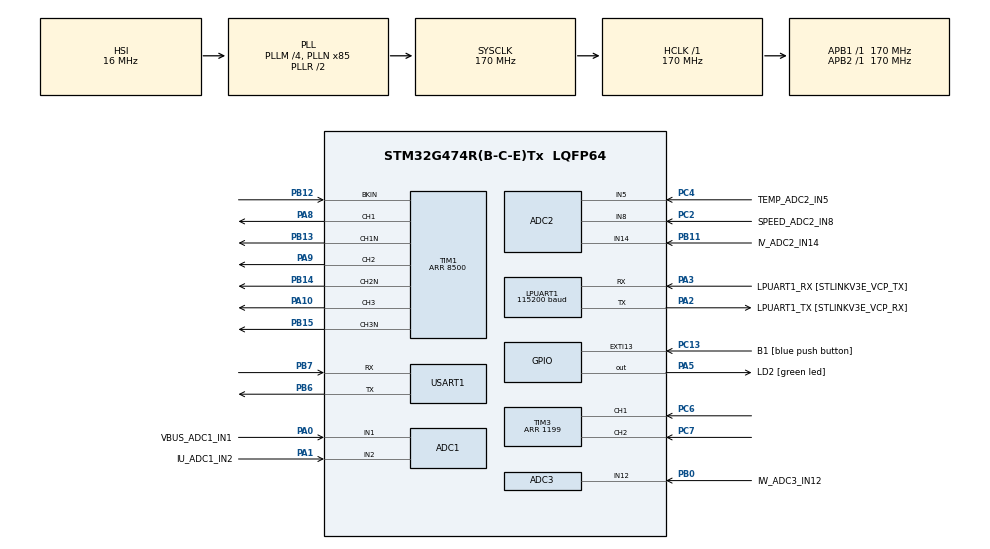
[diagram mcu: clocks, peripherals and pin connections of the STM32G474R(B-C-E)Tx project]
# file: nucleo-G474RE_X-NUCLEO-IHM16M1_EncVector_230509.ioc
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ADC1.Channel-5\#ChannelRegularConversion=ADC_CHANNEL_1
ADC1.ContinuousConvMode=DISABLE
ADC1.DMAContinuousRequests=ENABLE
ADC1.EnableInjectedConversion=ENABLE
ADC1.EnableRegularConversion=ENABLE
ADC1.ExternalTrigConv=ADC_EXTERNALTRIG_T1_TRGO2
ADC1.ExternalTrigInjecConv=ADC_EXTERNALTRIGINJEC_T1_TRGO2
ADC1.InjNumberOfConversion=1
ADC1.InjectedChannel-3\#ChannelInjectedConversion=ADC_CHANNEL_2
ADC1.InjectedOffsetNumber-3\#ChannelInjectedConversion=ADC_OFFSET_NONE
ADC1.InjectedRank-3\#ChannelInjectedConversion=1
ADC1.InjectedSamplingTime-3\#ChannelInjectedConversion=ADC_SAMPLETIME_2CYCLES_5
ADC1.NbrOfConversion=1
ADC1.NbrOfConversionFlag=1
ADC1.OffsetNumber-5\#ChannelRegularConversion=ADC_OFFSET_NONE
ADC1.Rank-5\#ChannelRegularConversion=1
ADC1.Rank1_Channel=ADC_CHANNEL_2
ADC1.Rank2_Channel=ADC_CHANNEL_1
ADC1.SamplingTime-5\#ChannelRegularConversion=ADC_SAMPLETIME_2CYCLES_5
ADC1.master=1
ADC2.Channel-4\#ChannelRegularConversion=ADC_CHANNEL_5
ADC2.Channel-5\#ChannelRegularConversion=ADC_CHANNEL_8
ADC2.ContinuousConvMode=DISABLE
ADC2.DMAContinuousRequests=ENABLE
ADC2.EOCSelection=ADC_EOC_SEQ_CONV
ADC2.EnableInjectedConversion=ENABLE
ADC2.EnableRegularConversion=ENABLE
ADC2.ExternalTrigConv=ADC_EXTERNALTRIG_T1_TRGO2
ADC2.ExternalTrigInjecConv=ADC_EXTERNALTRIGINJEC_T1_TRGO2
ADC2.InjNumberOfConversion=1
ADC2.InjectedChannel-3\#ChannelInjectedConversion=ADC_CHANNEL_14
ADC2.InjectedOffsetNumber-3\#ChannelInjectedConversion=ADC_OFFSET_NONE
ADC2.InjectedRank-3\#ChannelInjectedConversion=1
ADC2.InjectedSamplingTime-3\#ChannelInjectedConversion=ADC_SAMPLETIME_2CYCLES_5
ADC2.NbrOfConversion=2
ADC2.NbrOfConversionFlag=1
ADC2.OffsetNumber-4\#ChannelRegularConversion=ADC_OFFSET_NONE
ADC2.OffsetNumber-5\#ChannelRegularConversion=ADC_OFFSET_NONE
ADC2.Rank-4\#ChannelRegularConversion=1
ADC2.Rank-5\#ChannelRegularConversion=2
ADC2.SamplingTime-4\#ChannelRegularConversion=ADC_SAMPLETIME_2CYCLES_5
ADC2.SamplingTime-5\#ChannelRegularConversion=ADC_SAMPLETIME_2CYCLES_5
ADC3.EnableInjectedConversion=ENABLE
ADC3.EnableRegularConversion=DISABLE
ADC3.ExternalTrigInjecConv=ADC_EXTERNALTRIGINJEC_T1_TRGO2
ADC3.InjNumberOfConversion=1
ADC3.InjectedChannel-1\#ChannelInjectedConversion=ADC_CHANNEL_12
ADC3.InjectedOffsetNumber-1\#ChannelInjectedConversion=ADC_OFFSET_NONE
ADC3.InjectedRank-1\#ChannelInjectedConversion=1
ADC3.InjectedSamplingTime-1\#ChannelInjectedConversion=ADC_SAMPLETIME_2CYCLES_5
ADC3.Rank1_Channel=ADC_CHANNEL_12
ADC3.master=1
COMP1.Hysteresis=COMP_HYSTERESIS_MEDIUM
COMP1.TriggerMode=COMP_TRIGGERMODE_IT_RISING
COMP4.Hysteresis=COMP_HYSTERESIS_MEDIUM
COMP4.TriggerMode=COMP_TRIGGERMODE_IT_RISING
COMP6.Hysteresis=COMP_HYSTERESIS_MEDIUM
COMP6.TriggerMode=COMP_TRIGGERMODE_IT_RISING
DAC3.DAC_Channel-DAC_OUT2_Int=DAC_CHANNEL_2
Dma.ADC1.1.Direction=DMA_PERIPH_TO_MEMORY
Dma.ADC1.1.EventEnable=DISABLE
Dma.ADC1.1.Instance=DMA1_Channel1
Dma.ADC1.1.MemDataAlignment=DMA_MDATAALIGN_HALFWORD
Dma.ADC1.1.MemInc=DMA_MINC_ENABLE
Dma.ADC1.1.Mode=DMA_CIRCULAR
Dma.ADC1.1.PeriphDataAlignment=DMA_PDATAALIGN_HALFWORD
Dma.ADC1.1.PeriphInc=DMA_PINC_DISABLE
Dma.ADC1.1.Polarity=HAL_DMAMUX_REQ_GEN_RISING
Dma.ADC1.1.Priority=DMA_PRIORITY_LOW
Dma.ADC1.1.RequestNumber=1
Dma.ADC1.1.SignalID=NONE
Dma.ADC1.1.SyncEnable=DISABLE
Dma.ADC1.1.SyncPolarity=HAL_DMAMUX_SYNC_NO_EVENT
Dma.ADC1.1.SyncRequestNumber=1
Dma.ADC1.1.SyncSignalID=NONE
Dma.ADC2.0.Direction=DMA_PERIPH_TO_MEMORY
Dma.ADC2.0.EventEnable=DISABLE
Dma.ADC2.0.Instance=DMA1_Channel2
Dma.ADC2.0.MemDataAlignment=DMA_MDATAALIGN_HALFWORD
Dma.ADC2.0.MemInc=DMA_MINC_ENABLE
Dma.ADC2.0.Mode=DMA_CIRCULAR
Dma.ADC2.0.PeriphDataAlignment=DMA_PDATAALIGN_HALFWORD
Dma.ADC2.0.PeriphInc=DMA_PINC_DISABLE
Dma.ADC2.0.Polarity=HAL_DMAMUX_REQ_GEN_RISING
Dma.ADC2.0.Priority=DMA_PRIORITY_LOW
Dma.ADC2.0.RequestNumber=1
Dma.ADC2.0.SignalID=NONE
Dma.ADC2.0.SyncEnable=DISABLE
Dma.ADC2.0.SyncPolarity=HAL_DMAMUX_SYNC_NO_EVENT
Dma.ADC2.0.SyncRequestNumber=1
Dma.ADC2.0.SyncSignalID=NONE
Dma.Request0=ADC2
Dma.Request1=ADC1
Dma.Request2=USART1_RX
Dma.USART1_RX.2.Direction=DMA_PERIPH_TO_MEMORY
Dma.USART1_RX.2.EventEnable=DISABLE
Dma.USART1_RX.2.Instance=DMA1_Channel3
Dma.USART1_RX.2.MemDataAlignment=DMA_MDATAALIGN_BYTE
Dma.USART1_RX.2.MemInc=DMA_MINC_ENABLE
Dma.USART1_RX.2.Mode=DMA_CIRCULAR
Dma.USART1_RX.2.PeriphDataAlignment=DMA_PDATAALIGN_BYTE
Dma.USART1_RX.2.PeriphInc=DMA_PINC_DISABLE
Dma.USART1_RX.2.Polarity=HAL_DMAMUX_REQ_GEN_RISING
Dma.USART1_RX.2.Priority=DMA_PRIORITY_LOW
Dma.USART1_RX.2.RequestNumber=1
Dma.USART1_RX.2.SignalID=NONE
Dma.USART1_RX.2.SyncEnable=DISABLE
Dma.USART1_RX.2.SyncPolarity=HAL_DMAMUX_SYNC_NO_EVENT
Dma.USART1_RX.2.SyncRequestNumber=1
Dma.USART1_RX.2.SyncSignalID=NONE
LPUART1.BaudRate=115200
LPUART1.WordLength=UART_WORDLENGTH_8B
Mcu.Family=STM32G4
Mcu.Name=STM32G474R(B-C-E)Tx
Mcu.Package=LQFP64
NVIC.ADC1_2_IRQn=true\:0\:0\:false\:false\:true\:true\:true\:true
NVIC.ADC3_IRQn=true\:0\:0\:false\:false\:true\:true\:true\:true
NVIC.COMP1_2_3_IRQn=true\:0\:0\:false\:false\:true\:false\:true\:true
NVIC.COMP4_5_6_IRQn=true\:0\:0\:false\:false\:true\:false\:true\:true
NVIC.DMA1_Channel1_IRQn=true\:0\:0\:false\:false\:true\:false\:true\:true
NVIC.DMA1_Channel2_IRQn=true\:0\:0\:false\:false\:true\:false\:true\:true
NVIC.DMA1_Channel3_IRQn=true\:0\:0\:false\:false\:true\:false\:true\:true
NVIC.EXTI15_10_IRQn=true\:0\:0\:false\:false\:true\:true\:true\:true
NVIC.PriorityGroup=NVIC_PRIORITYGROUP_4
NVIC.TIM1_BRK_TIM15_IRQn=true\:0\:0\:false\:false\:true\:true\:true\:true
NVIC.TIM3_IRQn=true\:0\:0\:false\:false\:true\:true\:true\:true
NVIC.TIM6_DAC_IRQn=true\:0\:0\:false\:false\:true\:true\:true\:true
PA0.GPIO_Label=VBUS_ADC1_IN1
PA0.Mode=IN1-Single-Ended
PA0.Signal=ADC1_IN1
PA1.GPIO_Label=IU_ADC1_IN2
PA1.Signal=SharedAnalog_PA1
PA10.GPIO_PuPd=GPIO_PULLDOWN
PA10.Signal=S_TIM1_CH3
PA13.GPIO_Label=T_SWDIO
PA13.Mode=Serial_Wire
PA13.Signal=SYS_JTMS-SWDIO
PA14.GPIO_Label=T_SWCLK
PA14.Mode=Serial_Wire
PA14.Signal=SYS_JTCK-SWCLK
PA2.GPIO_Label=LPUART1_TX [STLINKV3E_VCP_RX]
PA2.Mode=Asynchronous
PA2.Signal=LPUART1_TX
PA3.GPIO_Label=LPUART1_RX [STLINKV3E_VCP_TX]
PA3.Mode=Asynchronous
PA3.Signal=LPUART1_RX
PA5.GPIO_Label=LD2 [green led]
PA5.Signal=GPIO_Output
PA8.GPIO_PuPd=GPIO_PULLDOWN
PA8.Signal=S_TIM1_CH1
PA9.GPIO_PuPd=GPIO_PULLDOWN
PA9.Signal=S_TIM1_CH2
PB0.GPIO_Label=IW_ADC3_IN12
PB0.Signal=SharedAnalog_PB0
PB11.GPIO_Label=IV_ADC2_IN14
PB11.Signal=SharedAnalog_PB11
PB12.GPIO_PuPd=GPIO_PULLUP
PB12.Mode=Activate-Break-Input
PB12.Signal=TIM1_BKIN
PB13.GPIO_PuPd=GPIO_PULLDOWN
PB13.Mode=PWM Generation1 CH1 CH1N
PB13.Signal=TIM1_CH1N
PB14.GPIO_PuPd=GPIO_PULLDOWN
PB14.Mode=PWM Generation2 CH2 CH2N
PB14.Signal=TIM1_CH2N
PB15.GPIO_PuPd=GPIO_PULLDOWN
PB15.Mode=PWM Generation3 CH3 CH3N
PB15.Signal=TIM1_CH3N
PB3.GPIO_Label=T_SWO
PB3.Signal=SYS_JTDO-SWO
PB6.Mode=Asynchronous
PB6.Signal=USART1_TX
PB7.Mode=Asynchronous
PB7.Signal=USART1_RX
PC13.GPIO_Label=B1 [blue push button]
PC13.Signal=GPXTI13
PC14-OSC32_IN.Mode=LSE-External-Oscillator
PC14-OSC32_IN.Signal=RCC_OSC32_IN
PC15-OSC32_OUT.Mode=LSE-External-Oscillator
PC15-OSC32_OUT.Signal=RCC_OSC32_OUT
PC2.GPIO_Label=SPEED_ADC2_IN8
PC2.Mode=IN8-Single-Ended
PC2.Signal=ADC2_IN8
PC4.GPIO_Label=TEMP_ADC2_IN5
PC4.Mode=IN5-Single-Ended
PC4.Signal=ADC2_IN5
PC6.Signal=S_TIM3_CH1
PC7.Signal=S_TIM3_CH2
PF0-OSC_IN.Mode=HSE-External-Oscillator
PF0-OSC_IN.Signal=RCC_OSC_IN
PF1-OSC_OUT.Mode=HSE-External-Oscillator
PF1-OSC_OUT.Signal=RCC_OSC_OUT
ProjectManager.HeapSize=0x200
ProjectManager.StackSize=0x400
ProjectManager.TargetToolchain=Makefile
RCC.ADC12Freq_Value=170000000
RCC.ADC345Freq_Value=170000000
RCC.AHBFreq_Value=170000000
RCC.APB1Freq_Value=170000000
RCC.APB1TimFreq_Value=170000000
RCC.APB2Freq_Value=170000000
RCC.APB2TimFreq_Value=170000000
RCC.CortexFreq_Value=170000000
RCC.EXTERNAL_CLOCK_VALUE=12288000
RCC.HCLKFreq_Value=170000000
RCC.HSE_VALUE=24000000
RCC.HSI48_VALUE=48000000
RCC.HSI_VALUE=16000000
RCC.PLLM=RCC_PLLM_DIV4
RCC.PLLN=85
RCC.RTCClockSelection=RCC_RTCCLKSOURCE_LSE
RCC.SYSCLKFreq_VALUE=170000000
RCC.SYSCLKSource=RCC_SYSCLKSOURCE_PLLCLK
RCC.USBFreq_Value=170000000
RCC.VCOOutputFreq_Value=340000000
SH.S_TIM1_CH1.0=TIM1_CH1,PWM Generation1 CH1 CH1N
SH.S_TIM1_CH2.0=TIM1_CH2,PWM Generation2 CH2 CH2N
SH.S_TIM1_CH3.0=TIM1_CH3,PWM Generation3 CH3 CH3N
SH.S_TIM3_CH1.0=TIM3_CH1,Encoder_Interface
SH.S_TIM3_CH2.0=TIM3_CH2,Encoder_Interface
SH.SharedAnalog_PA1.0=ADC1_IN2,IN2-Single-Ended
SH.SharedAnalog_PA1.1=COMP1_INP,INP
SH.SharedAnalog_PB0.0=ADC3_IN12,IN12-Single-Ended
SH.SharedAnalog_PB0.1=COMP4_INP,INP
SH.SharedAnalog_PB11.0=ADC2_IN14,IN14-Single-Ended
SH.SharedAnalog_PB11.1=COMP6_INP,INP
TIM1.Channel-PWM\ Generation1\ CH1\ CH1N=TIM_CHANNEL_1
TIM1.Channel-PWM\ Generation2\ CH2\ CH2N=TIM_CHANNEL_2
TIM1.Channel-PWM\ Generation3\ CH3\ CH3N=TIM_CHANNEL_3
TIM1.Channel-PWM\ Generation6\ No\ Output=TIM_CHANNEL_6
TIM1.CounterMode=TIM_COUNTERMODE_CENTERALIGNED3
TIM1.DeadTime=0xCA
TIM1.OCMode_PWM-PWM\ Generation1\ CH1\ CH1N=TIM_OCMODE_PWM2
TIM1.OCMode_PWM-PWM\ Generation2\ CH2\ CH2N=TIM_OCMODE_PWM2
TIM1.OCMode_PWM-PWM\ Generation3\ CH3\ CH3N=TIM_OCMODE_PWM2
TIM1.PeriodNoDither=8500
TIM1.PulseNoDither_6=1
TIM1.SourceBRKCOMP1=TIM_BREAKINPUTSOURCE_ENABLE
TIM1.SourceBRKCOMP4=TIM_BREAKINPUTSOURCE_ENABLE
TIM1.SourceBRKCOMP6=TIM_BREAKINPUTSOURCE_ENABLE
TIM1.SourceBRKDigInputPolarity=TIM_BREAKINPUTSOURCE_POLARITY_LOW
TIM1.TIM_MasterOutputTrigger2=TIM_TRGO2_OC4REF_RISING_OC6REF_FALLING
TIM3.EncoderMode=TIM_ENCODERMODE_TI12
TIM3.IC1Filter=0
TIM3.IC2Filter=0
TIM3.PeriodNoDither=1199
TIM6.PeriodNoDither=42500
TIM6.Prescaler=4
USART1.VirtualMode-Asynchronous=VM_ASYNC
VP_COMP1_VS_DAC1OUT1.Mode=INM_DAC1OUT1
VP_COMP4_VS_DAC3OUT2.Mode=INM_DAC3OUT2
VP_COMP6_VS_DAC2OUT1.Mode=INM_DAC2OUT1
VP_DAC1_VS_DACI1.Mode=DAC_OUT1_Int
VP_DAC2_VS_DACI1.Mode=DAC_OUT1_Int
VP_DAC3_VS_DACI2.Mode=DAC_OUT2_Int
VP_SYS_VS_DBSignals.Mode=DisableDeadBatterySignals
VP_TIM1_VS_ClockSourceINT.Mode=Internal
VP_TIM1_VS_no_output6.Mode=PWM Generation6 No Output
VP_TIM6_VS_ClockSourceINT.Mode=Enable_Timer
board=NUCLEO-G474RE

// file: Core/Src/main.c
/* USER CODE BEGIN Header */
/**
  ******************************************************************************
  * @file           : main.c
  * @brief          : Main program body
  ******************************************************************************
  * @attention
  *
  * Copyright (c) 2023 STMicroelectronics.
  * All rights reserved.
  *
  * This software is licensed under terms that can be found in the LICENSE file
  * in the root directory of this software component.
  * If no LICENSE file comes with this software, it is provided AS-IS.
  *
  ******************************************************************************
  */
/* USER CODE END Header */
#include "main.h"
#include "adc.h"
#include "comp.h"
#include "dac.h"
#include "dma.h"
#include "usart.h"
#include "tim.h"
#include "gpio.h"

/* USER CODE BEGIN Includes */
#include <stdio.h>
#include <ctype.h>
#include "define.h"
#include "packetSerial.h"
#include <math.h>
/* USER CODE END Includes */

/* USER CODE BEGIN PV */
uint16_t adc1Buf;
uint16_t adc2Buf[2];
uint8_t encEdgeDetect;
extern float omgDst;
static uint8_t brkErr;
float Tic, vVr;
uint8_t onOff;
static uint8_t rxBuf[256];
static uint16_t rxBtm = 0;
extern float vBus, omgFlt, iD, iQ, vDRef, vQRef;
/* USER CODE END PV */

void SystemClock_Config(void);
/* USER CODE BEGIN PFP */
extern void pwmEnable(void);
extern void pwmDisable(void);
/* USER CODE END PFP */

int main(void)
{

  /* MCU Configuration--------------------------------------------------------*/

  /* Reset of all peripherals, Initializes the Flash interface and the Systick. */
  HAL_Init();

  /* Configure the system clock */
  SystemClock_Config();

  /* Initialize all configured peripherals */
  MX_GPIO_Init();
  MX_DMA_Init();
  MX_LPUART1_UART_Init();
  MX_ADC1_Init();
  MX_ADC2_Init();
  MX_ADC3_Init();
  MX_TIM1_Init();
  MX_TIM3_Init();
  MX_TIM6_Init();
  MX_COMP1_Init();
  MX_COMP4_Init();
  MX_COMP6_Init();
  MX_DAC1_Init();
  MX_DAC2_Init();
  MX_DAC3_Init();
  MX_USART1_UART_Init();
  /* USER CODE BEGIN 2 */
  setbuf( stdout, NULL );
  setbuf( stdin, NULL );
  HAL_ADCEx_InjectedStart_IT(&hadc1);
  HAL_ADCEx_InjectedStart_IT(&hadc2);
  HAL_ADCEx_InjectedStart_IT(&hadc3);
  HAL_ADC_Start_DMA(&hadc1, (uint32_t *)&adc1Buf, 1);
  HAL_ADC_Start_DMA(&hadc2, (uint32_t *)adc2Buf, 2);
  HAL_TIM_PWM_Start_IT(&htim1, TIM_CHANNEL_1);
  HAL_TIMEx_PWMN_Start_IT(&htim1, TIM_CHANNEL_1);
  HAL_TIM_PWM_Start_IT(&htim1, TIM_CHANNEL_2);
  HAL_TIMEx_PWMN_Start_IT(&htim1, TIM_CHANNEL_2);
  HAL_TIM_PWM_Start_IT(&htim1, TIM_CHANNEL_3);
  HAL_TIMEx_PWMN_Start_IT(&htim1, TIM_CHANNEL_3);
  pwmDisable();
  HAL_TIM_Encoder_Start_IT(&htim3, TIM_CHANNEL_ALL);
  HAL_DAC_Start(&hdac1, DAC1_CHANNEL_1);
  HAL_DAC_Start(&hdac2, DAC1_CHANNEL_1);
  HAL_DAC_Start(&hdac3, DAC1_CHANNEL_2);
  HAL_DAC_SetValue(&hdac1, DAC1_CHANNEL_1, DAC_ALIGN_12B_R, 0xFFF);
  HAL_DAC_SetValue(&hdac2, DAC1_CHANNEL_1, DAC_ALIGN_12B_R, 0xFFF);
  HAL_DAC_SetValue(&hdac3, DAC1_CHANNEL_2, DAC_ALIGN_12B_R, 0xFFF);
  HAL_UART_Receive_DMA(&huart1, rxBuf, sizeof(rxBuf));
  /* USER CODE END 2 */

  /* Infinite loop */
  /* USER CODE BEGIN WHILE */
  uint32_t tick = HAL_GetTick();
  while (1)
  {
    uint16_t rxTop = sizeof(rxBuf) - hlpuart1.hdmarx->Instance->CNDTR;

    if( rxBuf[rxTop] == 0 ){
      uint16_t rxSize = (rxTop-rxBtm)&(sizeof(rxBuf)-1);
      uint8_t packet[8];
      if( rxSize > sizeof(packet) ){
        rxBtm = rxTop;
        continue;
      }
      for( uint16_t i=0; i<rxSize; i++ ){
        packet[i] = rxBuf[rxBtm];
        rxBtm = (rxBtm + 1)&(sizeof(rxBuf)-1);
      }
      decodePacket( packet, rxSize );
      float omgBuf = *(float *)&packet[1] / 60.0f * (_MOTOR_POLE>>1) * _RAD(360.0f);
      if( omgBuf > 233.3f * _RAD(360.0f) ) omgBuf = 233.3f * _RAD(360.0f);
      else if( omgBuf < 0.0f ) omgBuf = 0.0f;
      omgDst = omgBuf;
    }

    if( HAL_GetTick() - tick > 1000 ){
      tick = HAL_GetTick();
      float vth = adc2Buf[0] * _REG2VOLT;
      float Rth = vth/(_VCC-vth) * _TH_PDR;
      Tic = _TH_B / ( logf(Rth) - logf(_TH_R0) + (_TH_B/_TH_T0) ) - 273.15f;
      float pD = iD*vDRef;
      float pQ = iQ*vQRef;
      if( pD < 0 ) pD = -pD;
      if( pQ < 0 ) pQ = -pQ;

      uint8_t txBuf[18];
      *(float *)&txBuf[1] = vBus;
      *(float *)&txBuf[5] = Tic;
      *(float *)&txBuf[9] = omgFlt * 60.0f/((_MOTOR_POLE>>1) * _RAD(360.0f));
      *(float *)&txBuf[13] = pD + pQ;
      encodePacket( (uint8_t *)txBuf, sizeof(txBuf) );
      HAL_UART_Transmit(&huart1, (uint8_t *)txBuf, sizeof(txBuf), 100);
    }

    /* USER CODE END WHILE */

  }
}

void SystemClock_Config(void)
{
  RCC_OscInitTypeDef RCC_OscInitStruct = {0};
  RCC_ClkInitTypeDef RCC_ClkInitStruct = {0};

  /** Configure the main internal regulator output voltage
  */
  HAL_PWREx_ControlVoltageScaling(PWR_REGULATOR_VOLTAGE_SCALE1_BOOST);

  /** Initializes the RCC Oscillators according to the specified parameters
  * in the RCC_OscInitTypeDef structure.
  */
  RCC_OscInitStruct.OscillatorType = RCC_OSCILLATORTYPE_HSI;
  RCC_OscInitStruct.HSIState = RCC_HSI_ON;
  RCC_OscInitStruct.HSICalibrationValue = RCC_HSICALIBRATION_DEFAULT;
  RCC_OscInitStruct.PLL.PLLState = RCC_PLL_ON;
  RCC_OscInitStruct.PLL.PLLSource = RCC_PLLSOURCE_HSI;
  RCC_OscInitStruct.PLL.PLLM = RCC_PLLM_DIV4;
  RCC_OscInitStruct.PLL.PLLN = 85;
  RCC_OscInitStruct.PLL.PLLP = RCC_PLLP_DIV2;
  RCC_OscInitStruct.PLL.PLLQ = RCC_PLLQ_DIV2;
  RCC_OscInitStruct.PLL.PLLR = RCC_PLLR_DIV2;
  if (HAL_RCC_OscConfig(&RCC_OscInitStruct) != HAL_OK)
  {
    Error_Handler();
  }

  /** Initializes the CPU, AHB and APB buses clocks
  */
  RCC_ClkInitStruct.ClockType = RCC_CLOCKTYPE_HCLK|RCC_CLOCKTYPE_SYSCLK
                              |RCC_CLOCKTYPE_PCLK1|RCC_CLOCKTYPE_PCLK2;
  RCC_ClkInitStruct.SYSCLKSource = RCC_SYSCLKSOURCE_PLLCLK;
  RCC_ClkInitStruct.AHBCLKDivider = RCC_SYSCLK_DIV1;
  RCC_ClkInitStruct.APB1CLKDivider = RCC_HCLK_DIV1;
  RCC_ClkInitStruct.APB2CLKDivider = RCC_HCLK_DIV1;

  if (HAL_RCC_ClockConfig(&RCC_ClkInitStruct, FLASH_LATENCY_4) != HAL_OK)
  {
    Error_Handler();
  }
}

/* USER CODE BEGIN 4 */

void HAL_TIMEx_BreakCallback(TIM_HandleTypeDef *htim)
{
  brkErr = 1;
  HAL_GPIO_WritePin(LD2_GPIO_Port, LD2_Pin, GPIO_PIN_SET);
}

void HAL_TIM_IC_CaptureCallback(TIM_HandleTypeDef *htim)
{
  if( htim == &htim3 )
  {
    encEdgeDetect = 1;
  }
}

/* USER CODE END 4 */

void Error_Handler(void)
{
  __disable_irq();
  while (1)
  {
  }
}
